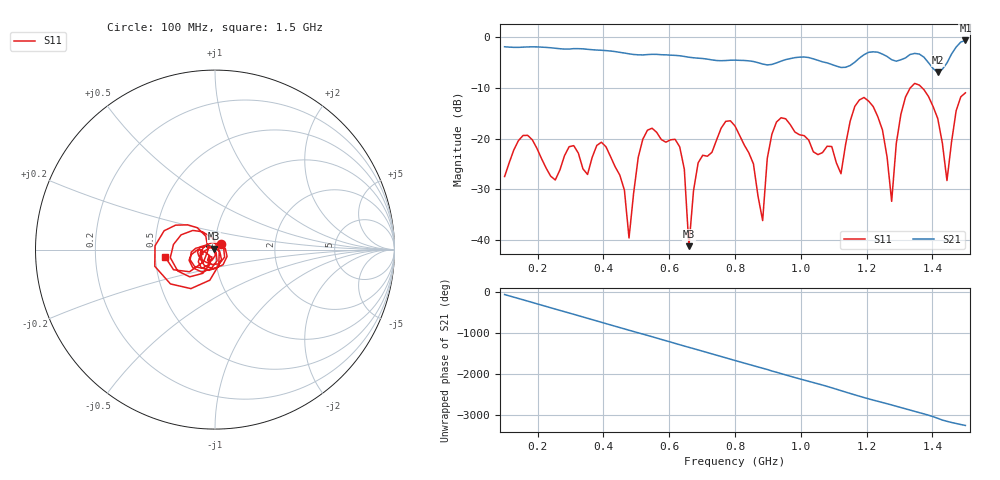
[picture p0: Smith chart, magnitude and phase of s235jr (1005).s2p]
! NanoVNA-App
! Date: 2025-09-25 15:11:59
! Start: 100MHz Stop: 1,5GHz Points: 101
! S-Parameter data: F S11 S21 S12 S22
# Hz S RI R 50
!  Frequency  S11_Real  S11_Imag  S21_Real  S21_Imag  S12_Real  S12_Imag  S22_Real  S22_Imag
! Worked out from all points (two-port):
!   101 points, 100 MHz to 1.5 GHz, reference 50 ohm
!   highest |S21| = -0.73 dB at 1.5 GHz (marker M1); lowest = -7.0 dB at 1.416 GHz (marker M2)
!   |S21| within 3 dB of the highest: start of sweep to 630.7 MHz; 1.188 GHz to 1.258 GHz (69.86 MHz wide, 5.71 % of centre) (the widest 2 of 4)
!   lowest |S11| = -41.2 dB at 660 MHz (marker M3), VSWR 1.02, Z = 49.3 + j0.567 ohm
!   |S11| at or under -10 dB: start of sweep to 1.333 GHz; 1.368 GHz to end of sweep
!   S12 and S22 are empty: the file has one direction only
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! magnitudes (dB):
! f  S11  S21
! 100 MHz  -27.5  -2.0
! 156 MHz  -19.4  -2.0
! 338 MHz  -26.0  -2.4
! 408 MHz  -21.6  -2.7
! 478 MHz  -39.5  -3.4
! 520 MHz  -20.1  -3.6
! 576 MHz  -20.2  -3.5
! 632 MHz  -21.6  -3.7
! 660 MHz  -41.2  -4.0
! 688 MHz  -24.8  -4.2
! 800 MHz  -17.5  -4.6
! 884 MHz  -36.1  -5.4
! 926 MHz  -16.8  -5.1
! 1.038 GHz  -22.6  -4.3
! 1.122 GHz  -26.9  -6.0
! 1.192 GHz  -11.9  -3.5
! 1.248 GHz  -18.3  -3.4
! 1.276 GHz  -32.3  -4.5
! 1.332 GHz  -10.1  -3.5
! 1.416 GHz  -16.1  -7.0
! 1.444 GHz  -28.3  -5.2
! 1.5 GHz  -11.0  -0.7
